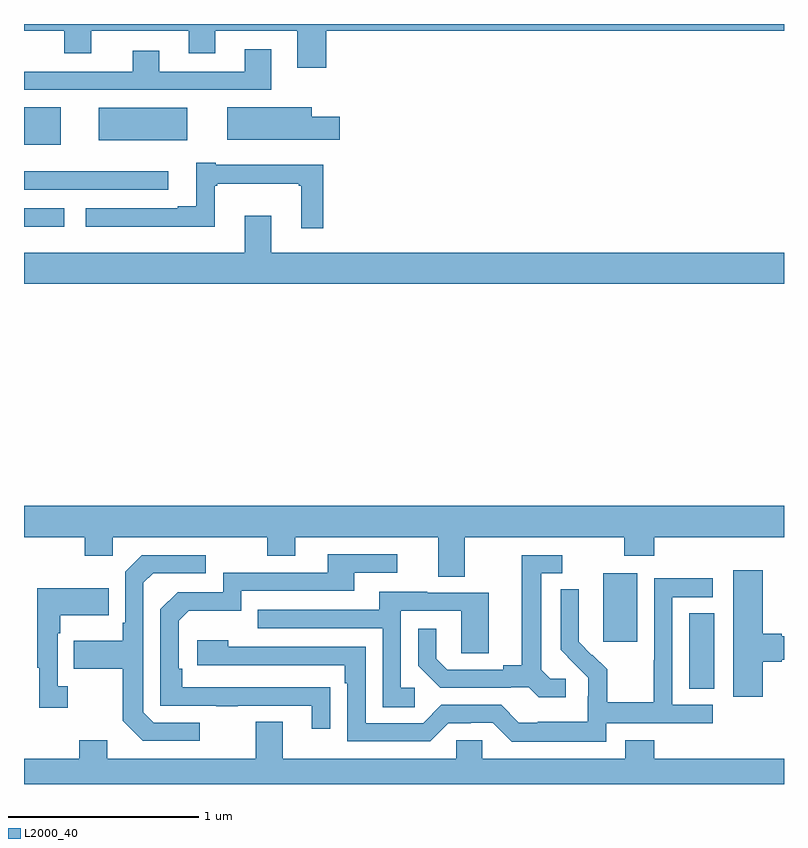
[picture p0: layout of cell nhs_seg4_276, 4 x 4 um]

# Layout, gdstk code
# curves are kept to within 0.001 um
import gdstk
lib = gdstk.Library(unit=1e-6, precision=1e-09)
def R(c, l, rs):  # rectangles x0, y0, x1, y1
    for r in rs: c.add(gdstk.rectangle(r[:2], r[2:], *l))
def P(c, l, *ps):  # polygons
    for p in ps: c.add(gdstk.Polygon(p, *l))
L2000_40 = (2000, 40)

nhs_seg4_276 = lib.new_cell('nhs_seg4_276')
R(nhs_seg4_276, L2000_40, [(128.501,749.401,128.632,749.798), (128.048,749.649,128.227,750.01), (125,751.832,125.212,751.929), (125,752.028,125.758,752.125), (125,752.264,125.194,752.461), (125.394,752.288,125.86,752.458)])
P(nhs_seg4_276, L2000_40, [(126.59,752.864),(129,752.864),(129,752.9),(125,752.9),(125,752.864),(125.213,752.864),(125.213,752.747),(125.353,752.747),(125.353,752.864),(125.867,752.864),(125.867,752.747),(126.007,752.747),(126.007,752.864),(126.437,752.864),(126.437,752.67),(126.59,752.67)],
  [(126.301,752.767),(126.161,752.767),(126.161,752.649),(125.713,752.649),(125.713,752.758),(125.573,752.758),(125.573,752.649),(125,752.649),(125,752.553),(126.301,752.553)],
  [(126.661,752.413),(126.514,752.413),(126.514,752.461),(126.071,752.461),(126.071,752.291),(126.661,752.291)],
  [(126.575,752.158),(126.01,752.158),(126.01,752.17),(125.906,752.17),(125.906,751.942),(125.81,751.942),(125.81,751.929),(125.325,751.929),(125.325,751.832),(126.004,751.832),(126.004,752.049),(126.016,752.049),(126.016,752.06),(126.447,752.06),(126.447,752.049),(126.458,752.049),(126.458,751.824),(126.575,751.824)],
  [(129,751.696),(126.301,751.696),(126.301,751.891),(126.161,751.891),(126.161,751.696),(125,751.696),(125,751.532),(129,751.532)],
  [(127.321,750.2),(128.158,750.2),(128.158,750.101),(128.318,750.101),(128.318,750.2),(129,750.2),(129,750.364),(125,750.364),(125,750.2),(125.32,750.2),(125.32,750.101),(125.466,750.101),(125.466,750.2),(126.28,750.2),(126.28,750.101),(126.427,750.101),(126.427,750.2),(127.181,750.2),(127.181,749.992),(127.321,749.992)],
  [(126.611,749.408),(125.834,749.409),(125.834,749.506),(125.814,749.506),(125.814,749.76),(125.867,749.813),(126.144,749.813),(126.144,749.916),(126.739,749.916),(126.739,750.012),(126.964,750.012),(126.964,750.108),(126.599,750.108),(126.599,750.012),(126.048,750.012),(126.048,749.91),(125.808,749.91),(125.718,749.82),(125.718,749.313),(126.013,749.313),(126.013,749.308),(126.125,749.308),(126.125,749.313),(126.515,749.313),(126.515,749.19),(126.611,749.19)],
  [(127.852,749.454),(127.77,749.454),(127.723,749.501),(127.723,750.009),(127.834,750.009),(127.834,750.105),(127.619,750.105),(127.619,749.525),(127.523,749.525),(127.523,749.502),(127.228,749.502),(127.171,749.559),(127.171,749.716),(127.074,749.716),(127.074,749.522),(127.19,749.406),(127.562,749.406),(127.562,749.409),(127.656,749.409),(127.708,749.357),(127.852,749.357)],
  [(125.926,749.223),(125.682,749.223),(125.628,749.277),(125.628,749.958),(125.679,750.009),(125.956,750.009),(125.956,750.105),(125.619,750.105),(125.532,750.018),(125.532,749.749),(125.52,749.749),(125.52,749.653),(125.263,749.653),(125.263,749.506),(125.52,749.506),(125.52,749.233),(125.625,749.127),(125.926,749.127)],
  [(128.887,749.543),(128.987,749.543),(128.987,749.555),(129,749.555),(129,749.677),(128.987,749.677),(128.987,749.69),(128.887,749.69),(128.887,750.025),(128.732,750.025),(128.732,749.358),(128.887,749.358)],
  [(128.064,749.22),(128.626,749.22),(128.626,749.316),(128.412,749.316),(128.412,749.883),(128.626,749.883),(128.626,749.982),(128.316,749.982),(128.316,749.552),(128.314,749.552),(128.314,749.329),(128.069,749.329),(128.069,749.503),(127.992,749.58),(127.989,749.577),(127.919,749.648),(127.92,749.924),(127.824,749.924),(127.824,749.606),(127.97,749.458),(127.97,749.361),(127.968,749.361),(127.968,749.227),(127.705,749.227),(127.705,749.223),(127.605,749.223),(127.512,749.316),(127.197,749.316),(127.101,749.22),(126.798,749.22),(126.798,749.622),(126.074,749.622),(126.074,749.656),(125.913,749.656),(125.913,749.526),(126.689,749.526),(126.689,749.429),(126.702,749.429),(126.702,749.124),(127.137,749.124),(127.233,749.22),(127.352,749.22),(127.352,749.223),(127.467,749.223),(127.567,749.123),(128.064,749.123)],
  [(125.23,749.414),(125.178,749.414),(125.178,749.693),(125.191,749.693),(125.191,749.789),(125.447,749.789),(125.447,749.929),(125.07,749.929),(125.07,749.513),(125.081,749.513),(125.081,749.301),(125.23,749.301)],
  [(127.057,749.406),(126.984,749.406),(126.984,749.811),(127.302,749.811),(127.302,749.587),(127.447,749.587),(127.447,749.907),(127.123,749.907),(127.123,749.911),(126.869,749.911),(126.869,749.817),(126.229,749.817),(126.229,749.721),(126.888,749.721),(126.888,749.305),(127.057,749.305)],
  [(129,749.032),(128.318,749.032),(128.318,749.131),(128.165,749.131),(128.165,749.032),(127.413,749.032),(127.413,749.13),(127.275,749.13),(127.275,749.032),(126.361,749.032),(126.361,749.227),(126.221,749.227),(126.221,749.032),(125.437,749.032),(125.437,749.131),(125.29,749.131),(125.29,749.032),(125,749.032),(125,748.9),(129,748.9)])

lib.write_gds('nhs_seg4_276.gds')
